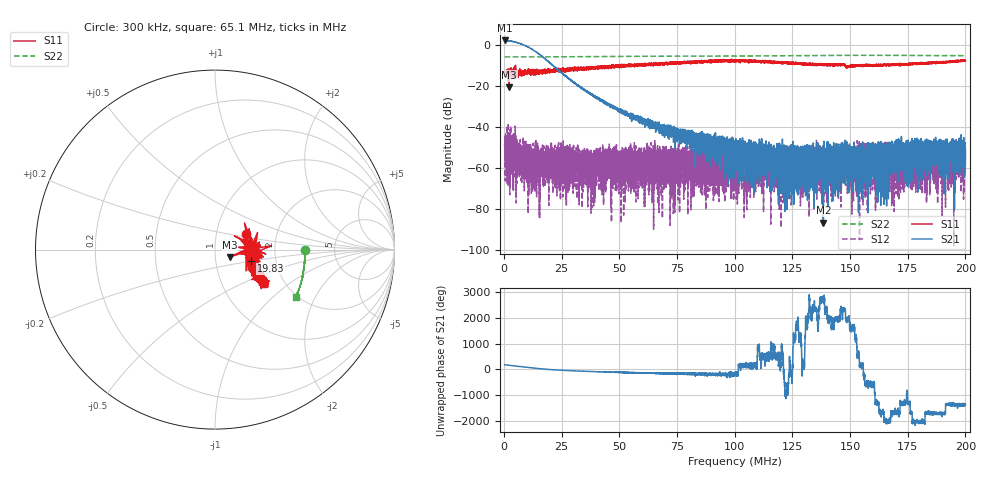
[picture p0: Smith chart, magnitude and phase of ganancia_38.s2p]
# Hz S DB R 50
! CMT, M5065, 19127446, 24.2.4/2
! Date: 11/8/2024 6:41:57 PM
! Data: Format (Calibration Info)
! Freq	S11:dB/Ang(F2)	S21:dB/Ang(F2)	S12:dB/Ang(F2)	S22:dB/Ang(F2)
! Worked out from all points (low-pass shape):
!   9000 points, 300 kHz to 200 MHz, reference 50 ohm
!   highest |S21| = 2.02 dB at 366.6 kHz (marker M1); lowest = -86.7 dB at 138.4 MHz (marker M2)
!   |S21| within 3 dB of the highest: start of sweep to 10.18 MHz
!   lowest |S11| = -20.7 dB at 2.231 MHz (marker M3), VSWR 1.20, Z = 58.8 - j4.9 ohm
!   |S11| at or under -10 dB: start of sweep to 46.65 MHz; 47.38 MHz to 48.32 MHz (936.4 kHz wide, 1.96 % of centre); 147.8 MHz to 150.3 MHz (2.413 MHz wide, 1.62 % of centre)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
!   |S22| runs from -6.0 to -5.2 dB; largest |S21 - S12| = 1.3
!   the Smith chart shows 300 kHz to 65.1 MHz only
!   S11 on the Smith chart (normalised r, x): 300 kHz: 1.40, +0.25; 19.83 MHz: 1.49, -0.20; 65.1 MHz: 1.58, -0.68
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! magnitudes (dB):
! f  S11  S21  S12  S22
! 300 kHz  -14.2  1.9  -48.6  -6.0
! 366.6 kHz  -13.9  2.0  -46.6  -6.0
! 2.231 MHz  -20.7  1.8  -68.3  -6.0
! 12.66 MHz  -13.3  -2.6  -60.7  -6.0
! 19.83 MHz  -13.5  -8.8  -58.7  -5.9
! 33.59 MHz  -11.1  -21.0  -62.5  -5.9
! 65.1 MHz  -9.5  -38.7  -56.9  -5.7
! 66.87 MHz  -9.8  -41.5  -57.2  -5.7
! 78.19 MHz  -8.1  -47.8  -58.0  -5.6
! 82.5 MHz  -9.1  -44.3  -53.1  -5.6
! 100.2 MHz  -7.7  -48.1  -52.4  -5.6
! 124.7 MHz  -8.9  -58.7  -61.3  -5.4
! 127 MHz  -9.4  -71.8  -53.4  -5.4
! 133.4 MHz  -9.7  -53.2  -53.9  -5.3
! 138.4 MHz  -9.6  -86.7  -61.7  -5.3
! 145.1 MHz  -10.1  -61.4  -63.9  -5.2
! 147.6 MHz  -9.6  -52.1  -49.1  -5.2
! 151.4 MHz  -10.2  -60.8  -52.7  -5.2
! 160.2 MHz  -10.3  -50.0  -50.5  -5.2
! 165 MHz  -9.9  -59.9  -55.8  -5.2
! 166.7 MHz  -9.9  -50.6  -56.5  -5.2
! 200 MHz  -7.7  -50.8  -55.6  -5.4
